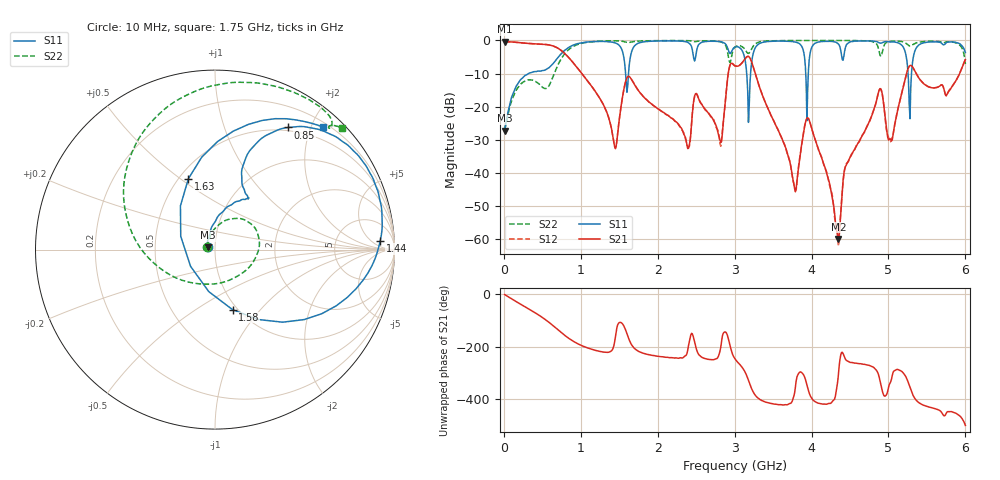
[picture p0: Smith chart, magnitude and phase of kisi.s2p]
! G_pp200: Plane pair 50 × 30 mm, d = 0.2 mm, ports at a corner and the centre
! stackup: plane pair, 0.2 mm FR-4
! ports: 1 corner, 2 centre
! kisi-fdtd, conformal, dfine 0.1 mm, 323400 cells
# Hz S RI R 1
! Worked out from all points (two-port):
!   600 points, 10 MHz to 6 GHz, reference 1 ohm
!   highest |S21| = -0.38 dB at 10 MHz (marker M1); lowest = -60.0 dB at 4.35 GHz (marker M2)
!   |S21| within 3 dB of the highest: start of sweep to 764.3 MHz
!   lowest |S11| = -27.2 dB at 10 MHz (marker M3), VSWR 1.09, Z = 0.92 + j0.0232 ohm
!   |S11| at or under -10 dB: start of sweep to 319.7 MHz; 1.583 GHz to 1.621 GHz (38.05 MHz wide, 2.38 % of centre); 3.157 GHz to 3.208 GHz (50.69 MHz wide, 1.59 % of centre)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
!   |S22| runs from -26.9 to 0.0 dB; largest |S21 - S12| = 0.0052
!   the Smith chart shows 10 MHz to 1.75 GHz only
!   S11 on the Smith chart (normalised r, x): 10 MHz: 0.92, +0.02; 850 MHz: 0.46, +1.67; 1.44 GHz: 17, +11; 1.58 GHz: 0.95, -0.72; 1.63 GHz: 0.56, +0.54; 1.75 GHz: 0.28, +2.19
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1e7  -0.0417 0.0126  0.9568 -0.031  0.9559 -0.0296  -0.043 0.0141
4.9e8  0.182 0.2964  0.0439 -0.8757  0.0437 -0.8766  0.1597 -0.1254
8.5e8  0.4076 0.6803  -0.5314 -0.0928  -0.5324 -0.0931  -0.4393 0.5922
1.01e9  0.6731 0.629  -0.3077 0.0905  -0.308 0.0905  -0.0625 0.9
1.44e9  0.9203 0.0486  -0.0251 0.00128  -0.0251 0.00179  0.5789 0.8
1.58e9  0.098 -0.3346  -0.1634 -0.1653  -0.1643 -0.165  0.6486 0.6846
1.63e9  -0.1482 0.3953  -0.284 -0.0242  -0.2846 -0.0253  0.6331 0.6823
1.75e9  0.6039 0.6812  -0.1373 0.1084  -0.137 0.1074  0.7048 0.6753
2.01e9  0.8848 0.4172  -0.0499 0.0771  -0.0491 0.0779  0.8046 0.5798
2.81e9  0.9565 0.0337  -0.0246 0.0189  -0.0204 0.0187  0.9399 0.2007
3.01e9  0.7959 0.019  -0.1467 0.385  -0.1437 0.3821  0.6925 0.4061
3.2e9  0.0218 0.2286  0.524 0.1389  0.5241 0.1395  0.5392 0.4005
3.78e9  0.9504 0.0272  0.00557 -0.00166  0.006 -0.00165  0.9295 0.36
3.9e9  0.5584 -0.3359  0.0275 0.0328  0.0279 0.0339  0.9369 0.3349
4.01e9  0.5733 0.5779  0.0332 -0.0285  0.0323 -0.0285  0.9429 0.3182
4.35e9  0.88 0.0308  0.000577 0.000823  0.000477 0.000624  0.9632 0.2585
4.45e9  0.7219 0.4354  -0.00402 0.0125  -0.00419 0.013  0.9652 0.2385
4.88e9  0.9172 0.0627  0.1327 0.1203  0.1346 0.1172  0.6698 -0.0278
5.01e9  0.9494 0.00531  0.031 0.00782  0.0313 0.00409  0.902 0.3124
5.28e9  -0.0481 0.0451  0.4166 0.0268  0.4169 0.0265  0.8058 0.1745
5.5e9  0.8492 0.3974  0.0747 -0.1913  0.075 -0.1911  0.9409 0.2135
6e9  0.6564 0.0136  -0.3988 -0.3217  -0.4008 -0.3205  0.4175 -0.1405
